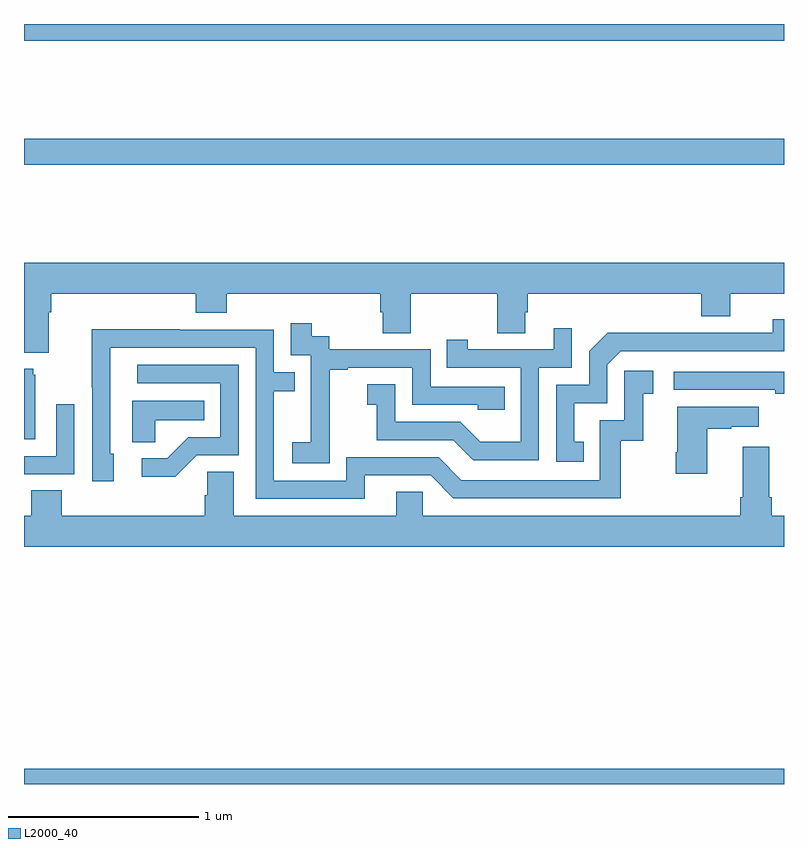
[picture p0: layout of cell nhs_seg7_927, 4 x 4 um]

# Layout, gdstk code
import gdstk
lib = gdstk.Library(unit=1e-6, precision=1e-09)
def R(c, l, rs):  # rectangles x0, y0, x1, y1
    for r in rs: c.add(gdstk.rectangle(r[:2], r[2:], *l))
def P(c, l, *ps):  # polygons
    for p in ps: c.add(gdstk.Polygon(p, *l))
L2000_40 = (2000, 40)

nhs_seg7_927 = lib.new_cell('nhs_seg7_927')
R(nhs_seg7_927, L2000_40, [(179,1034,183,1034.08), (179,1037.26,183,1037.396), (179,1037.912,183,1038)])
P(nhs_seg7_927, L2000_40, [(179.131,1036.484),(179.144,1036.484),(179.144,1036.58),(179.903,1036.58),(179.903,1036.481),(180.068,1036.481),(180.068,1036.58),(180.875,1036.58),(180.875,1036.482),(180.887,1036.482),(180.887,1036.372),(181.035,1036.372),(181.035,1036.58),(181.492,1036.58),(181.492,1036.372),(181.639,1036.372),(181.639,1036.482),(181.652,1036.482),(181.652,1036.58),(182.564,1036.58),(182.564,1036.463),(182.716,1036.463),(182.716,1036.58),(183,1036.58),(183,1036.744),(179,1036.744),(179,1036.271),(179.131,1036.271)],
  [(181.946,1035.801),(181.897,1035.801),(181.897,1036.005),(182.07,1036.005),(182.07,1036.206),(182.142,1036.278),(183,1036.278),(183,1036.447),(182.94,1036.447),(182.94,1036.374),(182.48,1036.374),(182.48,1036.376),(182.072,1036.376),(181.974,1036.278),(181.974,1036.101),(181.8,1036.101),(181.8,1035.696),(181.946,1035.696)],
  [(180.609,1035.895),(180.608,1035.895),(180.608,1036.179),(180.703,1036.179),(180.703,1036.191),(181.044,1036.191),(181.044,1035.996),(181.389,1035.996),(181.389,1035.969),(181.529,1035.969),(181.529,1036.092),(181.14,1036.092),(181.14,1036.287),(180.606,1036.287),(180.606,1036.356),(180.514,1036.356),(180.514,1036.426),(180.405,1036.426),(180.405,1036.257),(180.51,1036.257),(180.51,1036.028),(180.509,1036.028),(180.509,1035.799),(180.411,1035.799),(180.411,1035.689),(180.609,1035.689)],
  [(181.71,1036.191),(181.884,1036.191),(181.884,1036.399),(181.787,1036.399),(181.787,1036.287),(181.336,1036.287),(181.336,1036.339),(181.225,1036.339),(181.225,1036.191),(181.614,1036.191),(181.614,1035.802),(181.4,1035.802),(181.296,1035.906),(180.954,1035.906),(180.954,1036.105),(180.807,1036.105),(180.807,1035.995),(180.856,1035.995),(180.856,1035.81),(181.259,1035.81),(181.364,1035.705),(181.71,1035.705)],
  [(180.793,1035.624),(181.14,1035.624),(181.26,1035.504),(182.14,1035.504),(182.14,1035.807),(182.258,1035.807),(182.258,1036.053),(182.311,1036.053),(182.311,1036.174),(182.16,1036.174),(182.16,1035.915),(182.031,1035.915),(182.031,1035.6),(181.302,1035.6),(181.182,1035.72),(180.696,1035.72),(180.696,1035.597),(180.315,1035.597),(180.315,1036.066),(180.425,1036.066),(180.425,1036.167),(180.315,1036.167),(180.315,1036.392),(179.819,1036.392),(179.819,1036.394),(179.356,1036.394),(179.356,1036.087),(179.358,1036.087),(179.358,1035.594),(179.473,1035.594),(179.473,1035.738),(179.454,1035.738),(179.454,1036.296),(180.219,1036.296),(180.219,1035.501),(180.793,1035.501)],
  [(179.91,1035.729),(180.129,1035.729),(180.129,1036.206),(179.595,1036.206),(179.595,1036.11),(180.033,1036.11),(180.033,1035.825),(179.864,1035.825),(179.753,1035.714),(179.619,1035.714),(179.619,1035.617),(179.797,1035.617)],
  [(179.059,1036.155),(179.048,1036.155),(179.048,1036.186),(179,1036.186),(179,1035.815),(179.059,1035.815)],
  [(183,1036.17),(182.421,1036.17),(182.421,1036.074),(182.953,1036.074),(182.953,1036.054),(183,1036.054)],
  [(179.691,1035.914),(179.948,1035.914),(179.948,1036.018),(179.57,1036.018),(179.57,1035.799),(179.691,1035.799)],
  [(179.265,1036),(179.169,1036),(179.169,1035.726),(179,1035.726),(179,1035.63),(179.265,1035.63)],
  [(182.596,1035.871),(182.723,1035.871),(182.723,1035.881),(182.866,1035.881),(182.866,1035.985),(182.438,1035.985),(182.438,1035.745),(182.431,1035.745),(182.431,1035.632),(182.596,1035.632)],
  [(183,1035.412),(182.936,1035.412),(182.936,1035.508),(182.923,1035.508),(182.923,1035.775),(182.783,1035.775),(182.783,1035.508),(182.771,1035.508),(182.771,1035.412),(181.098,1035.412),(181.098,1035.539),(180.959,1035.539),(180.959,1035.412),(180.103,1035.412),(180.103,1035.644),(179.964,1035.644),(179.964,1035.521),(179.951,1035.521),(179.951,1035.412),(179.198,1035.412),(179.198,1035.545),(179.038,1035.545),(179.038,1035.412),(179,1035.412),(179,1035.248),(183,1035.248)])

lib.write_gds('nhs_seg7_927.gds')
